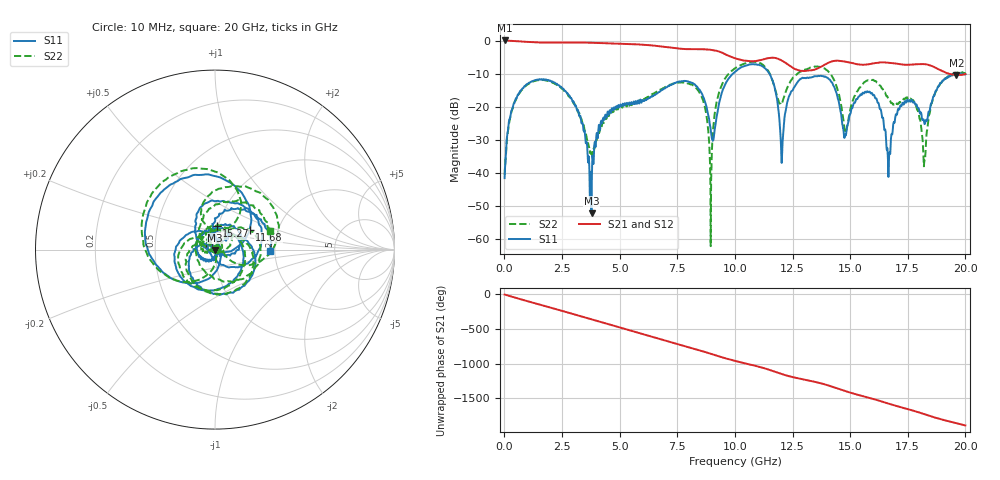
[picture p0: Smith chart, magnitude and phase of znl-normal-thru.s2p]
#  HZ  S  RI  R  50.00
! Rohde & Schwarz Vector Network Analyzer
! Rohde-Schwarz,ZNL20-2Port,1323001220101312,1.72.1.6-23.02.1.246
! Created: UTC 10/15/2024, 7:51:49 PM
! freq[Hz]  re:S11  im:S11  re:S21  im:S21  re:S12  im:S12  re:S22  im:S22
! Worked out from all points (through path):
!   2000 points, 10 MHz to 20 GHz, reference 50 ohm
!   highest |S21| = 0.02 dB at 10 MHz (marker M1); lowest = -10.4 dB at 19.61 GHz (marker M2)
!   group delay of S21, straight-line fit = 263 ps
!   lowest |S11| = -52.2 dB at 3.78 GHz (marker M3), VSWR 1.00, Z = 50.2 - j0.185 ohm
!   |S11| at or under -10 dB: start of sweep to 9.912 GHz; 11.5 GHz to 19.79 GHz (8.293 GHz wide, 53 % of centre); 19.9 GHz to end of sweep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
!   |S22| runs from -62.2 to -6.4 dB; largest |S21 - S12| = 0.011
!   S11 on the Smith chart (normalised r, x): 10 MHz: 1.01, +0.01; 11.68 GHz: 1.43, +0.33; 15.27 GHz: 0.98, +0.26; 20 GHz: 1.89, -0.04
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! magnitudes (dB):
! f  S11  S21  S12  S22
! 10 MHz  -41.6  0.0  0.0  -40.6
! 350 MHz  -20.6  -0.1  -0.2  -20.6
! 1.07 GHz  -12.8  -0.5  -0.5  -13.0
! 3.35 GHz  -25.0  -0.6  -0.7  -23.9
! 3.78 GHz  -52.2  -0.7  -0.7  -33.8
! 4.39 GHz  -22.4  -0.8  -0.9  -23.1
! 6.68 GHz  -15.7  -1.7  -1.7  -15.2
! 8.39 GHz  -14.2  -2.6  -2.6  -15.0
! 8.95 GHz  -27.0  -2.8  -2.8  -62.2
! 9.29 GHz  -19.8  -3.3  -3.2  -16.3
! 10.01 GHz  -9.4  -5.4  -5.4  -8.4
! 11.68 GHz  -13.1  -5.2  -5.2  -13.1
! 12.04 GHz  -35.9  -6.1  -6.1  -19.2
! 13.34 GHz  -11.1  -9.0  -9.0  -8.1
! 14.81 GHz  -28.7  -6.4  -6.3  -27.9
! 15.27 GHz  -17.7  -7.1  -7.1  -15.8
! 16.12 GHz  -17.5  -6.8  -6.7  -12.3
! 16.67 GHz  -39.5  -6.7  -6.6  -17.8
! 17.28 GHz  -18.8  -7.3  -7.2  -18.1
! 18.22 GHz  -25.1  -7.1  -7.1  -36.5
! 19.61 GHz  -10.1  -10.4  -10.4  -9.9
! 20 GHz  -10.2  -10.1  -10.1  -9.9
